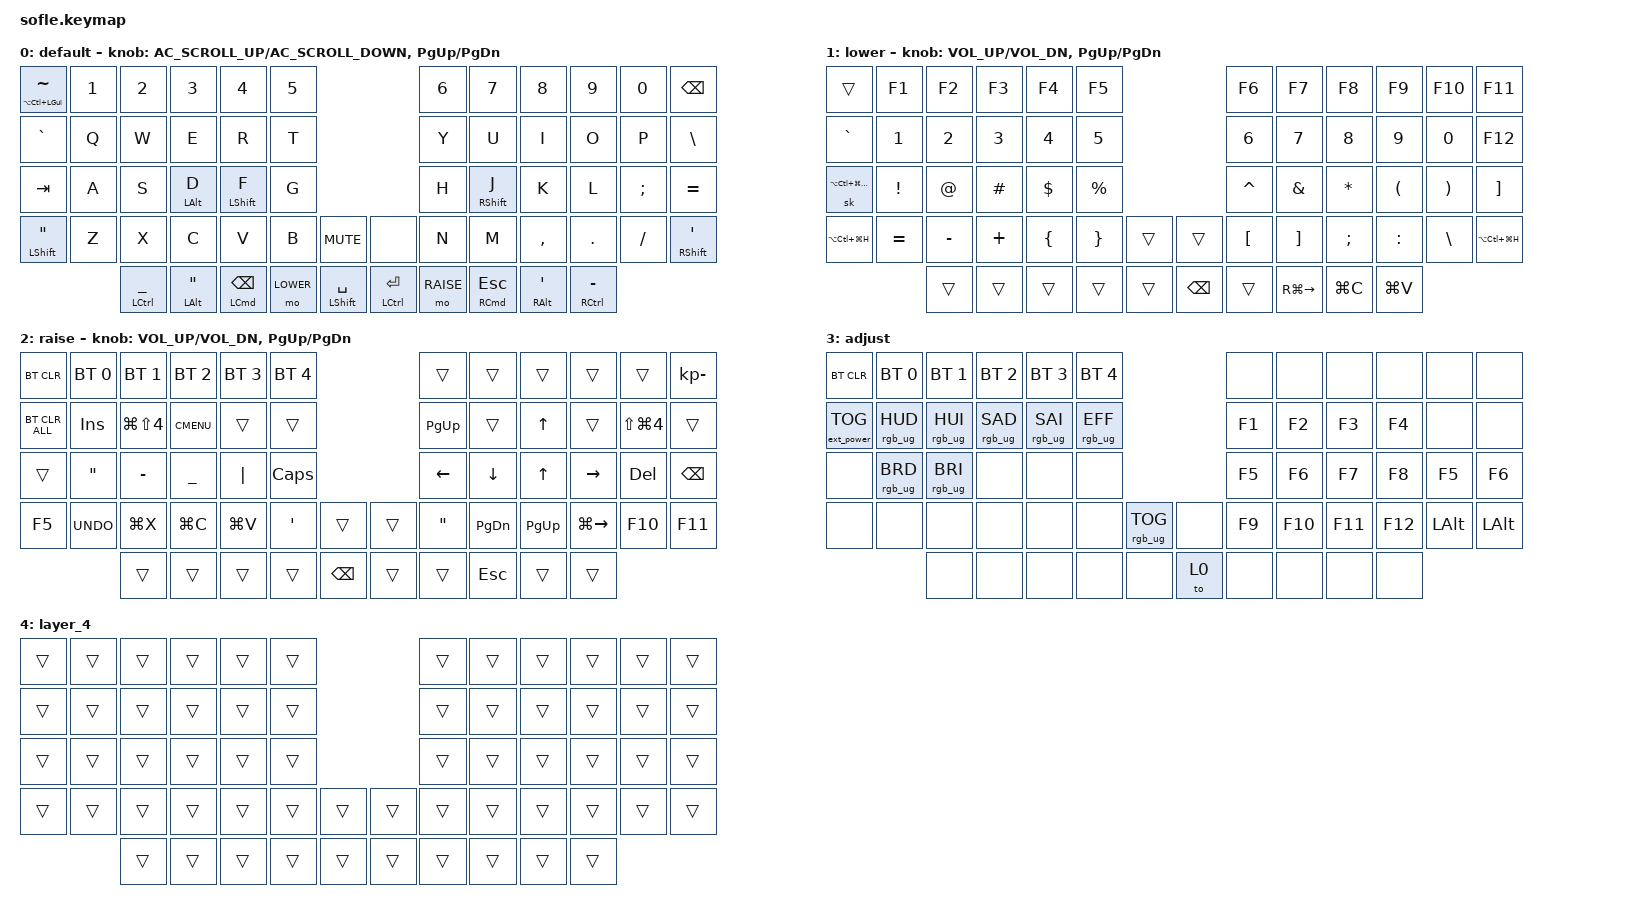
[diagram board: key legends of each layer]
/*
 * Copyright (c) 2020 The ZMK Contributors
 *
 * SPDX-License-Identifier: MIT
 */

#include <behaviors.dtsi>
#include <dt-bindings/zmk/bt.h>
#include <dt-bindings/zmk/ext_power.h>
#include <dt-bindings/zmk/keys.h>
#include <dt-bindings/zmk/rgb.h>

#define BASE 0
#define LOWER 1
#define RAISE 2
#define ADJUST 3

/ {
    // Activate ADJUST layer by pressing raise and lower

    conditional_layers {
        compatible = "zmk,conditional-layers";

        adjust_layer {
            if-layers = <LOWER RAISE>;
            then-layer = <ADJUST>;
        };
    };

    keymap {
        compatible = "zmk,keymap";

        default_layer {
            display-name = "default";

            // ------------------------------------------------------------------------------------------------------------
            // |   `   |  1  |  2  |  3   |  4   |  5   |                   |  6   |  7    |  8    |  9   |   0   |       |
            // |  ESC  |  Q  |  W  |  E   |  R   |  T   |                   |  Y   |  U    |  I    |  O   |   P   | BKSPC |
            // |  TAB  |  A  |  S  |  D   |  F   |  G   |                   |  H   |  J    |  K    |  L   |   ;   |   '   |
            // | SHIFT |  Z  |  X  |  C   |  V   |  B   |  MUTE  |  |       |  N   |  M    |  ,    |  .   |   /   | SHIFT |
            //               | GUI | ALT  | CTRL | LOWER|  ENTER |  | SPACE | RAISE| CTRL  | ALT   | GUI  |

            bindings = <
&mt LA(LC(LEFT_GUI)) TILDE    &kp N1  &kp N2                  &kp N3                  &kp N4                      &kp N5                                                     &kp N6     &kp N7                    &kp N8                      &kp N9                   &kp N0    &kp BACKSPACE
&kp GRAVE                     &kp Q   &kp W                   &kp E                   &kp R                       &kp T                                                      &kp Y      &kp U                     &kp I                       &kp O                    &kp P     &kp BACKSLASH
&kp TAB                       &kp A   &kp S                   &mt LEFT_ALT D          &mt LEFT_SHIFT F            &kp G                                                      &kp H      &mt RIGHT_SHIFT J         &kp K                       &kp L                    &kp SEMI  &kp EQUAL
&mt LEFT_SHIFT DOUBLE_QUOTES  &kp Z   &kp X                   &kp C                   &kp V                       &kp B      &kp C_MUTE              &none                   &kp N      &kp M                     &kp COMMA                   &kp DOT                  &kp FSLH  &mt RIGHT_SHIFT SINGLE_QUOTE
                                      &mt LEFT_CONTROL UNDER  &mt LALT DOUBLE_QUOTES  &mt LEFT_COMMAND BACKSPACE  &mo LOWER  &mt LEFT_SHIFT SPACE    &mt LEFT_CONTROL ENTER  &mo RAISE  &mt RIGHT_COMMAND ESCAPE  &mt RIGHT_ALT SINGLE_QUOTE  &mt RIGHT_CONTROL MINUS
            >;

            sensor-bindings =
                <&inc_dec_kp C_AC_SCROLL_UP C_AC_SCROLL_DOWN>,
                <&inc_dec_kp PAGE_UP PAGE_DOWN>;
        };

        lower_layer {
            display-name = "lower";

            // TODO: Some binds are waiting for shifted keycode support.
            // ------------------------------------------------------------------------------------------------------------
            // |       |  F1 |  F2 |  F3  |  F4  |  F5  |                   |  F6  |  F7   |  F8   |  F9  |  F10  |  F11  |
            // |   `   |  1  |  2  |  3   |  4   |  5   |                   |  6   |  7    |  8    |  9   |   0   |  F12  |
            // |       |  !  |  @  |  #   |  $   |  %   |                   |  ^   |  &    |  *    |  (   |   )   |   |   |
            // |       |  =  |  -  |  +   |  {   |  }   |        |  |       |  [   |  ]    |  ;    |  :   |   \   |       |
            //               |     |      |      |      |        |  |       |      |       |       |      |

            bindings = <
&trans                  &kp F1     &kp F2     &kp F3    &kp F4    &kp F5                              &kp F6     &kp F7               &kp F8     &kp F9     &kp F10   &kp F11
&kp GRAVE               &kp N1     &kp N2     &kp N3    &kp N4    &kp N5                              &kp N6     &kp N7               &kp N8     &kp N9     &kp N0    &kp F12
&sk LA(LC(LG(CLEAR2)))  &kp EXCL   &kp AT     &kp HASH  &kp DLLR  &kp PRCNT                           &kp CARET  &kp AMPS             &kp ASTRK  &kp LPAR   &kp RPAR  &kp RIGHT_BRACKET
&kp LA(LC(LG(H)))       &kp EQUAL  &kp MINUS  &kp PLUS  &kp LBRC  &kp RBRC   &trans    &trans         &kp LBKT   &kp RBKT             &kp SEMI   &kp COLON  &kp BSLH  &kp LA(LC(LG(H)))
                                   &trans     &trans    &trans    &trans     &trans    &kp BACKSPACE  &trans     &kp RG(RIGHT_ARROW)  &kp LG(C)  &kp LG(V)
            >;

            sensor-bindings = <&inc_dec_kp C_VOL_UP C_VOL_DN &inc_dec_kp PG_UP PG_DN>;
        };

        raise_layer {
            display-name = "raise";

            // ------------------------------------------------------------------------------------------------------------
            // | BTCLR | BT1  | BT2  |  BT3  |  BT4  |  BT5 |                |      |      |       |      |       |       |
            // |       | INS  | PSCR | GUI   |       |      |                | PGUP |      |   ^   |      |       |       |
            // |       | ALT  | CTRL | SHIFT |       | CAPS |                | PGDN |   <- |   v   |  ->  |  DEL  | BKSPC |
            // |       | UNDO | CUT  | COPY  | PASTE |      |      |  |      |      |      |       |      |       |       |
            //                |      |       |       |      |      |  |      |      |      |       |      |

            bindings = <
&bt BT_CLR      &bt BT_SEL 0       &bt BT_SEL 1    &bt BT_SEL 2    &bt BT_SEL 3  &bt BT_SEL 4                               &trans             &trans         &trans        &trans         &trans                &kp KP_MINUS
&bt BT_CLR_ALL  &kp INS            &kp LG(LS(N4))  &kp K_CMENU     &trans        &trans                                     &kp PG_UP          &trans         &kp UP        &trans         &kp LS(LG(NUMBER_4))  &trans
&trans          &kp DOUBLE_QUOTES  &kp MINUS       &kp UNDERSCORE  &kp PIPE      &kp CLCK                                   &kp LEFT           &kp DOWN       &kp UP_ARROW  &kp RIGHT      &kp DEL               &kp BSPC
&kp F5          &kp K_UNDO         &kp LG(X)       &kp LG(C)       &kp LG(V)     &kp SINGLE_QUOTE  &trans           &trans  &kp DOUBLE_QUOTES  &kp PAGE_DOWN  &kp PAGE_UP   &kp LG(RIGHT)  &kp F10               &kp F11
                                   &trans          &trans          &trans        &trans            &kp BACKSPACE    &trans  &trans             &kp ESCAPE     &trans        &trans
            >;

            sensor-bindings = <&inc_dec_kp C_VOL_UP C_VOL_DN &inc_dec_kp PG_UP PG_DN>;
        };

        adjust_layer {
            // ----------------------------------------------------------------------------------------------------------------------------
            // | BTCLR  |  BT1    |  BT2    |   BT3   |   BT4   |   BT5   |                  |      |      |       |      |       |       |
            // | EXTPWR | RGB_HUD | RGB_HUI | RGB_SAD | RGB_SAI | RGB_EFF |                  |      |      |       |      |       |       |
            // |        | RGB_BRD | RGB_BRI |         |         |         |                  |      |      |       |      |       |       |
            // |        |         |         |         |         |         | RGB_TOG | |      |      |      |       |      |       |       |
            //                    |         |         |         |         |         | |      |      |      |       |      |

            display-name = "adjust";
            bindings = <
&bt BT_CLR         &bt BT_SEL 0     &bt BT_SEL 1     &bt BT_SEL 2     &bt BT_SEL 3     &bt BT_SEL 4                               &none   &none    &none    &none    &none     &none
&ext_power EP_TOG  &rgb_ug RGB_HUD  &rgb_ug RGB_HUI  &rgb_ug RGB_SAD  &rgb_ug RGB_SAI  &rgb_ug RGB_EFF                            &kp F1  &kp F2   &kp F3   &kp F4   &none     &none
&none              &rgb_ug RGB_BRD  &rgb_ug RGB_BRI  &none            &none            &none                                      &kp F5  &kp F6   &kp F7   &kp F8   &kp F5    &kp F6
&none              &none            &none            &none            &none            &none            &rgb_ug RGB_TOG    &none  &kp F9  &kp F10  &kp F11  &kp F12  &kp LALT  &kp LALT
                                    &none            &none            &none            &none            &none              &to 0  &none   &none    &none    &none
            >;
        };

        layer_4 {
            bindings = <
&trans  &trans  &trans  &trans  &trans  &trans                    &trans  &trans  &trans  &trans  &trans  &trans
&trans  &trans  &trans  &trans  &trans  &trans                    &trans  &trans  &trans  &trans  &trans  &trans
&trans  &trans  &trans  &trans  &trans  &trans                    &trans  &trans  &trans  &trans  &trans  &trans
&trans  &trans  &trans  &trans  &trans  &trans  &trans    &trans  &trans  &trans  &trans  &trans  &trans  &trans
                &trans  &trans  &trans  &trans  &trans    &trans  &trans  &trans  &trans  &trans
            >;
        };
    };
};
